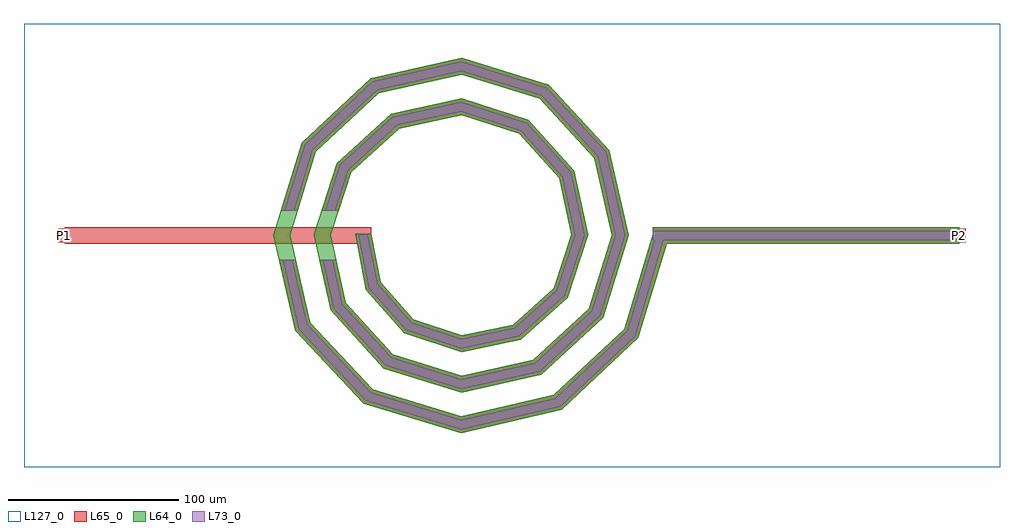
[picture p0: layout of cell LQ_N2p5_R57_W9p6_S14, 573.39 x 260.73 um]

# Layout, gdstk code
import gdstk
lib = gdstk.Library(unit=1e-6, precision=1e-09)
def R(c, l, rs):  # rectangles x0, y0, x1, y1
    for r in rs: c.add(gdstk.rectangle(r[:2], r[2:], *l))
def P(c, l, *ps):  # polygons
    for p in ps: c.add(gdstk.Polygon(p, *l))
L64_0 = (64, 0)
L65_0 = (65, 0)
L73_0 = (73, 0)
L127_0 = (127, 0)

lq_n2p5_r57_w9p6_s14 = lib.new_cell('LQ_N2p5_R57_W9p6_S14')
R(lq_n2p5_r57_w9p6_s14, L64_0, [(112.533,-4.8,292.533,4.8)])
P(lq_n2p5_r57_w9p6_s14, L64_0, [(-47.203,-27.609),(-28.077,-49.229),(0.29,-58.661),(30.568,-52.384),(54.383,-31.083),(64.628,0.265),(57.563,33.531),(34.086,59.539),(0.244,70.594),(-36.498,62.74),(-64.698,37.086),(-76.562,0.226),(-67.917,-39.466),(-40.083,-69.857),(0.211,-82.529),(42.437,-73.092),(75.018,-43.079),(88.496,0.197),(78.266,45.41),(46.073,80.18),(0.185,94.464),(-48.384,83.44),(-85.342,49.066),(-100.431,0.175),(-88.613,-51.359),(-52.059,-90.505),(0.166,-106.399),(54.335,-93.785),(95.669,-55.05),(112.739,1.39),(121.928,-1.39),(104.113,-60.294),(59.02,-102.551),(0.166,-116.333),(-57.318,-98.94),(-97.387,-56.028),(-110.364,0.175),(-93.766,54.342),(-53.035,92.224),(0.185,104.396),(51.367,88.592),(87.061,50.041),(98.428,0.197),(83.418,-48.394),(47.046,-81.898),(0.211,-92.46),(-45.422,-78.242),(-76.737,-44.049),(-86.491,0.226),(-73.065,42.452),(-41.05,71.577),(0.244,80.523),(39.484,67.887),(66.418,38.049),(74.554,0.265),(62.706,-36.518),(35.044,-61.26),(0.29,-68.585),(-33.557,-57.524),(-56.104,-32.035),(-62.361,0.947),(-52.95,0.947)])
R(lq_n2p5_r57_w9p6_s14, L65_0, [(-232.855,-4.8,-52.855,4.8), (112.533,-4.8,292.533,4.8), (-236.855,-4,-228.855,4), (288.533,-4,296.533,4)])
P(lq_n2p5_r57_w9p6_s14, L65_0, [(-88.613,-51.359),(-52.059,-90.506),(0.166,-106.399),(54.335,-93.785),(95.669,-55.05),(112.739,1.39),(121.928,-1.39),(104.113,-60.294),(59.02,-102.551),(0.166,-116.333),(-57.318,-98.94),(-97.387,-56.028),(-106.999,-14.4),(-97.147,-14.4)],
  [(-67.917,-39.467),(-40.083,-69.857),(0.211,-82.529),(42.437,-73.092),(75.018,-43.079),(88.496,0.197),(78.266,45.41),(46.073,80.18),(0.185,94.464),(-48.384,83.44),(-85.342,49.067),(-95.965,14.4),(-106.006,14.4),(-93.766,54.342),(-53.035,92.224),(0.185,104.396),(51.367,88.592),(87.061,50.042),(98.428,0.197),(83.418,-48.394),(47.046,-81.898),(0.211,-92.46),(-45.422,-78.242),(-76.737,-44.049),(-83.269,-14.4),(-73.439,-14.4)],
  [(-28.077,-49.229),(0.29,-58.661),(30.568,-52.384),(54.383,-31.083),(64.628,0.265),(57.563,33.531),(34.086,59.539),(0.244,70.595),(-36.498,62.74),(-64.698,37.086),(-71.911,14.4),(-81.985,14.4),(-73.065,42.452),(-41.05,71.577),(0.244,80.523),(39.484,67.887),(66.418,38.049),(74.554,0.265),(62.706,-36.518),(35.044,-61.26),(0.29,-68.585),(-33.557,-57.524),(-56.105,-32.035),(-62.361,0.947),(-52.95,0.947),(-47.203,-27.609)])
R(lq_n2p5_r57_w9p6_s14, L73_0, [(112.533,-2.8,292.533,2.8)])
P(lq_n2p5_r57_w9p6_s14, L73_0, [(-90.441,-52.332),(-53.154,-92.263),(0.097,-108.468),(55.311,-95.612),(97.428,-56.143),(114.653,0.811),(120.014,0.811),(102.354,-59.202),(58.044,-100.725),(0.097,-114.263),(-56.222,-97.183),(-95.559,-55.055),(-104.946,-14.4),(-99.199,-14.4)],
  [(-69.754,-40.421),(-41.195,-71.604),(0.123,-84.598),(43.398,-74.926),(76.768,-44.186),(90.565,0.115),(80.098,46.375),(47.176,81.932),(0.108,96.533),(-49.353,85.27),(-87.097,50.166),(-98.057,14.4),(-103.914,14.4),(-92.011,53.243),(-52.066,90.394),(0.108,102.327),(50.264,86.84),(85.228,49.077),(96.359,0.115),(81.668,-47.287),(46.086,-80.064),(0.123,-90.391),(-44.31,-76.495),(-74.899,-43.095),(-81.221,-14.4),(-75.487,-14.4)],
  [(-29.219,-50.957),(0.169,-60.729),(31.501,-54.233),(56.117,-32.216),(66.696,0.155),(59.408,34.472),(35.21,61.278),(0.142,72.663),(-37.446,64.581),(-66.441,38.204),(-74.01,14.4),(-79.886,14.4),(-71.322,41.334),(-40.102,69.736),(0.142,78.454),(38.359,66.148),(64.573,37.108),(72.486,0.155),(60.972,-35.386),(34.112,-59.411),(0.169,-66.518),(-32.415,-55.796),(-54.25,-31.113),(-60.4,0.552),(-54.91,0.552),(-49.057,-28.531)])
R(lq_n2p5_r57_w9p6_s14, L127_0, [(-256.855,-136.333,316.533,124.396)])
lq_n2p5_r57_w9p6_s14.add(gdstk.Label('P2', (292.533,0), layer=65, texttype=0))
lq_n2p5_r57_w9p6_s14.add(gdstk.Label('P1', (-232.855,0), layer=65, texttype=0))
lq_n2p5_r57_w9p6_s14.add(gdstk.Label('P2', (296.533,0), layer=145, texttype=0))
lq_n2p5_r57_w9p6_s14.add(gdstk.Label('P1', (-236.855,0), layer=145, texttype=0))

lib.write_gds('LQ_N2p5_R57_W9p6_S14.gds')
